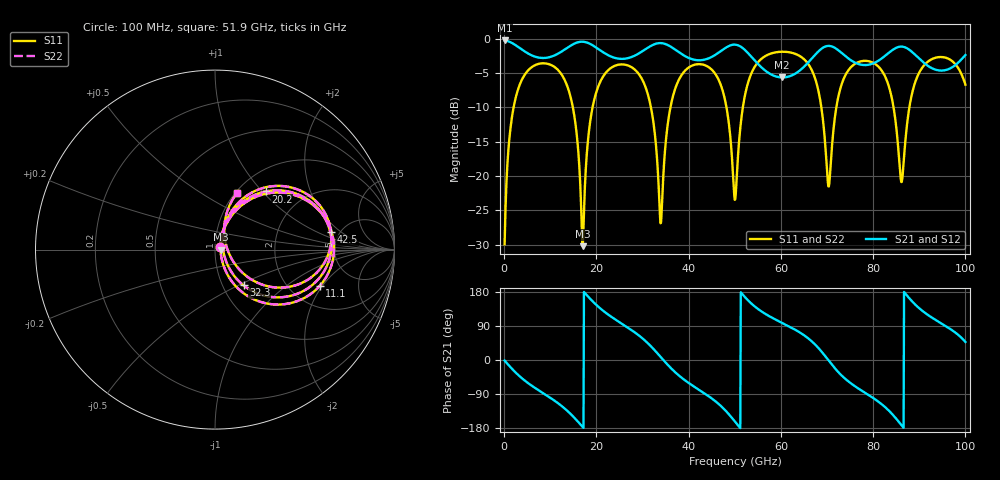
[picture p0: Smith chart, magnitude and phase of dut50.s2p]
! Touchstone file exported from HFSS 2026.1.0
!  File:  C:/ffzhzh/LocalFiles/Ansys_Project_Files/temp_train_TSV_RDL_50_1783621154_33328.aedt
!  Generated:  02:32:11 AM Jul 10, 2026
!  Design:  TSV_RDL
!  Project:  temp_train_TSV_RDL_50_1783621154_33328
! Variables:
!  h_bsmrdl = 2.3um
!  h_ox = 20um
!  h_rdl = 5um
!  h_sub = 70.16um
!  h_tmrdl = 3.19um
!  h_tsv = 70.16um
!  h_via = 3um
!  l_bsmrdl = 454.68um
!  l_sub = 3540.36um
!  l_tmrdl = 419.27um
!  m_sub = 200um
!  pitch = 55.31um
!  r_tsv = 5.06um
!  s_tmrdl = 10um
!  w_bsmrdl = 19.42um
!  w_sub = 500um
!  w_tmrdl = 13.66um
!  x_tsv_center1 = 426.1um
!  x_tsv_center2 = 900.2um
!  x_tsv_center3 = 1333.13um
!  x_tsv_center4 = 1807.23um
!  x_tsv_center5 = 2240.16um
!  x_tsv_center6 = 2714.26um
# GHz S MA R 50.000000
! Terminal data exported
! Port[1] = TM_RDL1_1_T1
! Port[2] = TM_RDL5_1_T1
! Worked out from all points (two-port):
!   1000 points, 100 MHz to 100 GHz, reference 50 ohm
!   highest |S21| = -0.24 dB at 100 MHz (marker M1); lowest = -5.6 dB at 60.3 GHz (marker M2)
!   |S21| within 3 dB of the highest: start of sweep to 54.43 GHz; 81.02 GHz to 90.55 GHz (9.532 GHz wide, 11.1 % of centre) (the widest 2 of 4)
!   lowest |S11| = -30.2 dB at 17 GHz (marker M3), VSWR 1.06, Z = 53.2 - j0.1 ohm
!   |S11| at or under -10 dB: 14.9 GHz to 19.16 GHz (4.265 GHz wide, 25 % of centre); 31.83 GHz to 36.05 GHz (4.222 GHz wide, 12.4 % of centre); 48.21 GHz to 51.75 GHz (3.542 GHz wide, 7.09 % of centre) (the widest 3 of 6)
!   |S22| runs from -30.1 to -1.9 dB; largest |S21 - S12| = 2e-14
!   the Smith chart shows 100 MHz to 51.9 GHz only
!   S11 on the Smith chart (normalised r, x): 100 MHz: 1.05, +0.04; 11.1 GHz: 2.88, -1.89; 20.2 GHz: 1.32, +1.05; 32.3 GHz: 1.25, -0.53; 42.5 GHz: 4.26, +1.44; 51.9 GHz: 1.02, +0.73
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0.1  0.03183 31.8  0.9732 -1.4  0.9732 -1.4  0.03183 31.8
! Gamma 0 0 0 0
! Port Impedance 50 0 50 0
3.1  0.4368 46.1  0.8704 -40.1  0.8704 -40.1  0.4367 46.1
11.1  0.6176 -19.2  0.7622 -108.8  0.7622 -108.8  0.6175 -19.1
14.9  0.3161 -54.9  0.9112 -148.4  0.9112 -148.4  0.316 -54.8
16.8  0.0459 -42.9  0.9533 -173.6  0.9533 -173.6  0.04612 -42.4
17  0.03082 -1.7  0.9532 -176.4  0.9532 -176.4  0.03127 -1.5
20.2  0.4305 48.9  0.8527 143.0  0.8527 143.0  0.4306 48.8
26.2  0.6482 -0.1  0.7168 90.4  0.7168 90.4  0.6482 -0.1
32.3  0.2547 -51.4  0.9051 30.1  0.9051 30.1  0.2547 -51.3
33.4  0.09773 -48.5  0.929 15.4  0.929 15.4  0.09786 -48.2
42.5  0.6535 8.5  0.698 -80.6  0.698 -80.6  0.6537 8.5
47.4  0.4165 -30.6  0.8334 -126.1  0.8334 -126.1  0.4166 -30.6
50.1  0.06746 24.2  0.9069 -163.4  0.9069 -163.4  0.06728 24.1
51.9  0.3405 68.7  0.847 170.2  0.847 170.2  0.3405 68.6
60.3  0.8055 7.1  0.523 97.7  0.523 97.7  0.8056 7.1
66.7  0.5912 -35.5  0.7187 49.1  0.7187 49.1  0.5915 -35.5
70.3  0.08407 -7.6  0.8885 -0.6  0.8885 -0.6  0.08469 -7.8
74.6  0.5881 29.3  0.7207 -56.2  0.7207 -56.2  0.588 29.1
83.4  0.4509 -35.7  0.7912 -133.5  0.7912 -133.5  0.4507 -36.0
86.1  0.09044 1.8  0.8782 -171.3  0.8782 -171.3  0.08826 1.6
90.7  0.6202 34.7  0.682 129.4  0.682 129.4  0.62 34.8
100  0.4633 -31.2  0.7615 47.7  0.7615 47.7  0.4633 -31.1
